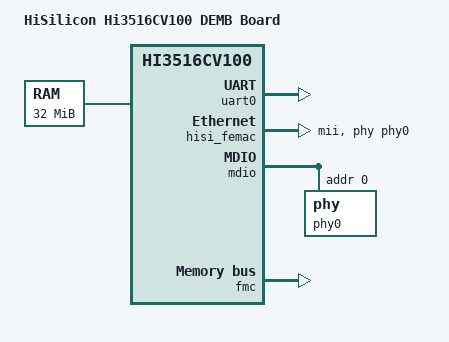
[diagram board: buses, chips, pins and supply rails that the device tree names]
// SPDX-License-Identifier: GPL-2.0-or-later
/*
 * DTS for Hi3516CV100 DEMB (development reference) board.
 *
 * Memory: 64 MiB DDR2 at 0x80000000. The OS is given the lower 32 MiB
 * (0x80000000-0x82000000); the upper 32 MiB are claimed at runtime by
 * the openhisilicon mmz.ko allocator — matches the production cv100
 * load_hisilicon defaults (totalmem=64, osmem=32). The DT memory node
 * advertises the OS-visible slice only.
 */

/dts-v1/;
#include "hi3516cv100.dtsi"

/ {
	model = "HiSilicon Hi3516CV100 DEMB Board";
	compatible = "hisilicon,hi3516cv100-demb", "hisilicon,hi3516cv100";

	memory@80000000 {
		device_type = "memory";
		reg = <0x80000000 0x02000000>;
	};

	chosen {
		stdout-path = "serial0:115200n8";
	};
};

&uart0 {
	status = "okay";
};

&hisi_femac {
	status = "okay";
	phy-mode = "mii";
	phy-handle = <&phy0>;
};

&mdio {
	status = "okay";
	phy0: phy@0 {
		reg = <0>;
	};
};

&fmc {
	status = "okay";
	/* The flash node is populated via U-Boot or the bootloader; this
	 * placeholder keeps the controller probe path alive. */
};
